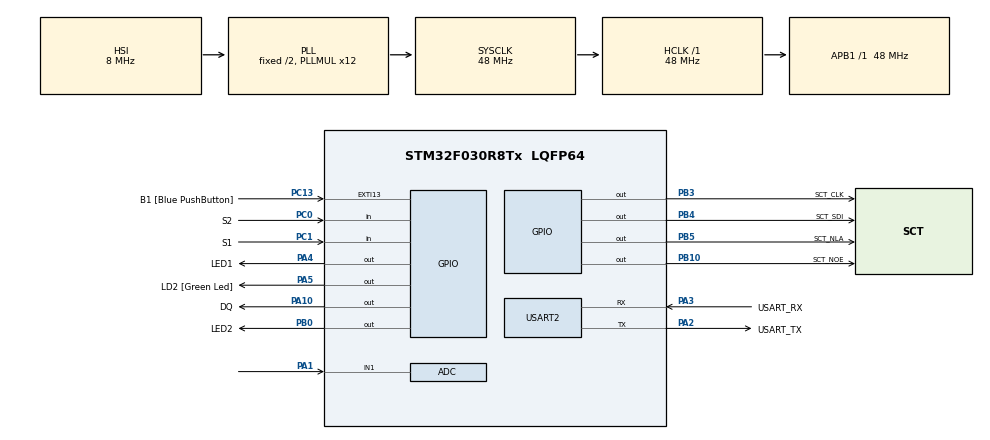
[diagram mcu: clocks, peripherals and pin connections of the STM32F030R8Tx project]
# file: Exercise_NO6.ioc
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ADC.ContinuousConvMode=ENABLE
ADC.Overrun=ADC_OVR_DATA_OVERWRITTEN
ADC.Resolution=ADC_RESOLUTION_10B
Mcu.Family=STM32F0
Mcu.Name=STM32F030R8Tx
Mcu.Package=LQFP64
PA1.Mode=IN1
PA1.Signal=ADC_IN1
PA10.GPIO_Label=DQ
PA10.GPIO_ModeDefaultOutputPP=GPIO_MODE_OUTPUT_OD
PA10.GPIO_PuPd=GPIO_NOPULL
PA10.Signal=GPIO_Output
PA13.GPIO_Label=TMS
PA13.Mode=Serial_Wire
PA13.Signal=SYS_SWDIO
PA14.GPIO_Label=TCK
PA14.Mode=Serial_Wire
PA14.Signal=SYS_SWCLK
PA2.GPIO_Label=USART_TX
PA2.GPIO_Mode=GPIO_MODE_AF_PP
PA2.GPIO_PuPd=GPIO_NOPULL
PA2.GPIO_Speed=GPIO_SPEED_FREQ_LOW
PA2.Mode=Asynchronous
PA2.Signal=USART2_TX
PA3.GPIO_Label=USART_RX
PA3.GPIO_Mode=GPIO_MODE_AF_PP
PA3.GPIO_PuPd=GPIO_NOPULL
PA3.GPIO_Speed=GPIO_SPEED_FREQ_LOW
PA3.Mode=Asynchronous
PA3.Signal=USART2_RX
PA4.GPIO_Label=LED1
PA4.Signal=GPIO_Output
PA5.GPIO_Label=LD2 [Green Led]
PA5.GPIO_Mode=GPIO_MODE_OUTPUT_PP
PA5.GPIO_PuPd=GPIO_NOPULL
PA5.GPIO_Speed=GPIO_SPEED_FREQ_LOW
PA5.Signal=GPIO_Output
PB0.GPIO_Label=LED2
PB0.Signal=GPIO_Output
PB10.GPIO_Label=SCT_NOE
PB10.Signal=GPIO_Output
PB3.GPIO_Label=SCT_CLK
PB3.Signal=GPIO_Output
PB4.GPIO_Label=SCT_SDI
PB4.Signal=GPIO_Output
PB5.GPIO_Label=SCT_NLA
PB5.Signal=GPIO_Output
PC0.GPIO_Label=S2
PC0.GPIO_PuPd=GPIO_PULLUP
PC0.Signal=GPIO_Input
PC1.GPIO_Label=S1
PC1.GPIO_PuPd=GPIO_PULLUP
PC1.Signal=GPIO_Input
PC13.GPIO_Label=B1 [Blue PushButton]
PC13.GPIO_ModeDefaultEXTI=GPIO_MODE_IT_FALLING
PC13.Signal=GPXTI13
PC14-OSC32_IN.Mode=LSE-External-Oscillator
PC14-OSC32_IN.Signal=RCC_OSC32_IN
PC15-OSC32_OUT.Mode=LSE-External-Oscillator
PC15-OSC32_OUT.Signal=RCC_OSC32_OUT
PF0-OSC_IN.Mode=HSE-External-Clock-Source
PF0-OSC_IN.Signal=RCC_OSC_IN
PF1-OSC_OUT.Signal=RCC_OSC_OUT
ProjectManager.HeapSize=0x200
ProjectManager.StackSize=0x400
ProjectManager.TargetToolchain=STM32CubeIDE
RCC.AHBFreq_Value=48000000
RCC.APB1Freq_Value=48000000
RCC.APB1TimFreq_Value=48000000
RCC.HCLKFreq_Value=48000000
RCC.PLLMUL=RCC_PLL_MUL12
RCC.SYSCLKFreq_VALUE=48000000
RCC.SYSCLKSource=RCC_SYSCLKSOURCE_PLLCLK
USART2.VirtualMode-Asynchronous=VM_ASYNC
board=NUCLEO-F030R8

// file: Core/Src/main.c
/* USER CODE BEGIN Header */
/**
 ******************************************************************************
 * @file           : main.c
 * @brief          : Main program body
 ******************************************************************************
 * @attention
 *
 * Copyright (c) 2022 STMicroelectronics.
 * All rights reserved.
 *
 * This software is licensed under terms that can be found in the LICENSE file
 * in the root directory of this software component.
 * If no LICENSE file comes with this software, it is provided AS-IS.
 *
 ******************************************************************************
 */
/* USER CODE END Header */
#include "main.h"

/* USER CODE BEGIN Includes */
#include "1wire.h"
#include "sct.h"
#include "data.h"
/* USER CODE END Includes */

/* USER CODE BEGIN PD */
#define DISPLAY_PERIOD 50 //ms
/* USER CODE END PD */

ADC_HandleTypeDef hadc;

UART_HandleTypeDef huart2;

void SystemClock_Config(void);
static void MX_GPIO_Init(void);
static void MX_USART2_UART_Init(void);
static void MX_ADC_Init(void);

int main(void)
{

	/* MCU Configuration--------------------------------------------------------*/

	/* Reset of all peripherals, Initializes the Flash interface and the Systick. */
	HAL_Init();

	/* Configure the system clock */
	SystemClock_Config();

	/* Initialize all configured peripherals */
	MX_GPIO_Init();
	MX_USART2_UART_Init();
	MX_ADC_Init();
	/* USER CODE BEGIN 2 */
	sct_init();
	OWInit();
	HAL_ADCEx_Calibration_Start(&hadc);
	HAL_ADC_Start(&hadc);
	/* USER CODE END 2 */

	/* Infinite loop */
	/* USER CODE BEGIN WHILE */
	while (1)
	{
		/*  int16_t temp_18b20;

	  OWConvertAll();
	  HAL_Delay(CONVERT_T_DELAY);
	  OWReadTemperature(&temp_18b20);
	  sct_value(temp_18b20/10, 0);

	  uint16_t adc = HAL_ADC_GetValue(&hadc);
	  sct_value(ntc_data[adc], 2);
	  HAL_Delay(100);
 */
		static uint32_t lastDisplayTicks = 0;
		static uint32_t lastBtnPress;
		static enum {SHOW_d18b20, SHOW_ntc} state = SHOW_d18b20;
		int16_t temp_18b20;
		uint16_t adc;

		OWConvertAll();
		HAL_Delay(CONVERT_T_DELAY);
		if (HAL_GetTick() >= lastDisplayTicks + DISPLAY_PERIOD) {
			lastDisplayTicks = HAL_GetTick();
			if (HAL_GPIO_ReadPin(S1_GPIO_Port, S1_Pin) == 0) {
				lastBtnPress = HAL_GetTick();
				state = SHOW_d18b20;
			}
			if (HAL_GPIO_ReadPin(S2_GPIO_Port, S2_Pin) == 0) {
				lastBtnPress = HAL_GetTick();
				state = SHOW_ntc;
			}
			switch (state) {
				case SHOW_d18b20: {
					HAL_GPIO_WritePin(LED1_GPIO_Port, LED1_Pin, 0);
					HAL_GPIO_WritePin(LED2_GPIO_Port, LED2_Pin, 1);

					OWReadTemperature(&temp_18b20);
					sct_value(temp_18b20/10, 0);
					break;
				}
				case SHOW_ntc: {
					HAL_GPIO_WritePin(LED1_GPIO_Port, LED1_Pin, 1);
					HAL_GPIO_WritePin(LED2_GPIO_Port, LED2_Pin, 0);

					adc = HAL_ADC_GetValue(&hadc);
					sct_value(ntc_data[adc], 2);
					HAL_Delay(100);
					break;
				}

		}

/*		if(HAL_GPIO_ReadPin(S1_GPIO_Port, S1_Pin) == 0) {
			HAL_GPIO_WritePin(LED1_GPIO_Port, LED1_Pin, 0);
			HAL_GPIO_WritePin(LED2_GPIO_Port, LED2_Pin, 1);

			OWReadTemperature(&temp_18b20);
			sct_value(temp_18b20/10, 0);
		}
		else if(HAL_GPIO_ReadPin(S2_GPIO_Port, S2_Pin) == 0) {
			HAL_GPIO_WritePin(LED1_GPIO_Port, LED1_Pin, 1);
			HAL_GPIO_WritePin(LED2_GPIO_Port, LED2_Pin, 0);
			adc = HAL_ADC_GetValue(&hadc);
			sct_value(ntc_data[adc], 2);
			HAL_Delay(100);
		}

*/
		}
		/* USER CODE END WHILE */

	}
}

void SystemClock_Config(void)
{
	RCC_OscInitTypeDef RCC_OscInitStruct = {0};
	RCC_ClkInitTypeDef RCC_ClkInitStruct = {0};

	/** Initializes the RCC Oscillators according to the specified parameters
	 * in the RCC_OscInitTypeDef structure.
	 */
	RCC_OscInitStruct.OscillatorType = RCC_OSCILLATORTYPE_HSI|RCC_OSCILLATORTYPE_HSI14;
	RCC_OscInitStruct.HSIState = RCC_HSI_ON;
	RCC_OscInitStruct.HSI14State = RCC_HSI14_ON;
	RCC_OscInitStruct.HSICalibrationValue = RCC_HSICALIBRATION_DEFAULT;
	RCC_OscInitStruct.HSI14CalibrationValue = 16;
	RCC_OscInitStruct.PLL.PLLState = RCC_PLL_ON;
	RCC_OscInitStruct.PLL.PLLSource = RCC_PLLSOURCE_HSI;
	RCC_OscInitStruct.PLL.PLLMUL = RCC_PLL_MUL12;
	RCC_OscInitStruct.PLL.PREDIV = RCC_PREDIV_DIV1;
	if (HAL_RCC_OscConfig(&RCC_OscInitStruct) != HAL_OK)
	{
		Error_Handler();
	}

	/** Initializes the CPU, AHB and APB buses clocks
	 */
	RCC_ClkInitStruct.ClockType = RCC_CLOCKTYPE_HCLK|RCC_CLOCKTYPE_SYSCLK
			|RCC_CLOCKTYPE_PCLK1;
	RCC_ClkInitStruct.SYSCLKSource = RCC_SYSCLKSOURCE_PLLCLK;
	RCC_ClkInitStruct.AHBCLKDivider = RCC_SYSCLK_DIV1;
	RCC_ClkInitStruct.APB1CLKDivider = RCC_HCLK_DIV1;

	if (HAL_RCC_ClockConfig(&RCC_ClkInitStruct, FLASH_LATENCY_1) != HAL_OK)
	{
		Error_Handler();
	}
}

static void MX_ADC_Init(void)
{

	ADC_ChannelConfTypeDef sConfig = {0};

	/** Configure the global features of the ADC (Clock, Resolution, Data Alignment and number of conversion)
	 */
	hadc.Instance = ADC1;
	hadc.Init.ClockPrescaler = ADC_CLOCK_ASYNC_DIV1;
	hadc.Init.Resolution = ADC_RESOLUTION_10B;
	hadc.Init.DataAlign = ADC_DATAALIGN_RIGHT;
	hadc.Init.ScanConvMode = ADC_SCAN_DIRECTION_FORWARD;
	hadc.Init.EOCSelection = ADC_EOC_SINGLE_CONV;
	hadc.Init.LowPowerAutoWait = DISABLE;
	hadc.Init.LowPowerAutoPowerOff = DISABLE;
	hadc.Init.ContinuousConvMode = ENABLE;
	hadc.Init.DiscontinuousConvMode = DISABLE;
	hadc.Init.ExternalTrigConv = ADC_SOFTWARE_START;
	hadc.Init.ExternalTrigConvEdge = ADC_EXTERNALTRIGCONVEDGE_NONE;
	hadc.Init.DMAContinuousRequests = DISABLE;
	hadc.Init.Overrun = ADC_OVR_DATA_OVERWRITTEN;
	if (HAL_ADC_Init(&hadc) != HAL_OK)
	{
		Error_Handler();
	}

	/** Configure for the selected ADC regular channel to be converted.
	 */
	sConfig.Channel = ADC_CHANNEL_1;
	sConfig.Rank = ADC_RANK_CHANNEL_NUMBER;
	sConfig.SamplingTime = ADC_SAMPLETIME_1CYCLE_5;
	if (HAL_ADC_ConfigChannel(&hadc, &sConfig) != HAL_OK)
	{
		Error_Handler();
	}

}

static void MX_USART2_UART_Init(void)
{

	huart2.Instance = USART2;
	huart2.Init.BaudRate = 38400;
	huart2.Init.WordLength = UART_WORDLENGTH_8B;
	huart2.Init.StopBits = UART_STOPBITS_1;
	huart2.Init.Parity = UART_PARITY_NONE;
	huart2.Init.Mode = UART_MODE_TX_RX;
	huart2.Init.HwFlowCtl = UART_HWCONTROL_NONE;
	huart2.Init.OverSampling = UART_OVERSAMPLING_16;
	huart2.Init.OneBitSampling = UART_ONE_BIT_SAMPLE_DISABLE;
	huart2.AdvancedInit.AdvFeatureInit = UART_ADVFEATURE_NO_INIT;
	if (HAL_UART_Init(&huart2) != HAL_OK)
	{
		Error_Handler();
	}

}

static void MX_GPIO_Init(void)
{
	GPIO_InitTypeDef GPIO_InitStruct = {0};

	/* GPIO Ports Clock Enable */
	__HAL_RCC_GPIOC_CLK_ENABLE();
	__HAL_RCC_GPIOF_CLK_ENABLE();
	__HAL_RCC_GPIOA_CLK_ENABLE();
	__HAL_RCC_GPIOB_CLK_ENABLE();

	/*Configure GPIO pin Output Level */
	HAL_GPIO_WritePin(GPIOA, GPIO_PIN_4|GPIO_PIN_5|GPIO_PIN_10, GPIO_PIN_RESET);

	/*Configure GPIO pin Output Level */
	HAL_GPIO_WritePin(GPIOB, GPIO_PIN_0|GPIO_PIN_10|GPIO_PIN_3|GPIO_PIN_4
			|GPIO_PIN_5, GPIO_PIN_RESET);

	/*Configure GPIO pin : PC13 */
	GPIO_InitStruct.Pin = GPIO_PIN_13;
	GPIO_InitStruct.Mode = GPIO_MODE_IT_FALLING;
	GPIO_InitStruct.Pull = GPIO_NOPULL;
	HAL_GPIO_Init(GPIOC, &GPIO_InitStruct);

	/*Configure GPIO pins : PC0 PC1 */
	GPIO_InitStruct.Pin = GPIO_PIN_0|GPIO_PIN_1;
	GPIO_InitStruct.Mode = GPIO_MODE_INPUT;
	GPIO_InitStruct.Pull = GPIO_PULLUP;
	HAL_GPIO_Init(GPIOC, &GPIO_InitStruct);

	/*Configure GPIO pins : PA4 PA5 */
	GPIO_InitStruct.Pin = GPIO_PIN_4|GPIO_PIN_5;
	GPIO_InitStruct.Mode = GPIO_MODE_OUTPUT_PP;
	GPIO_InitStruct.Pull = GPIO_NOPULL;
	GPIO_InitStruct.Speed = GPIO_SPEED_FREQ_LOW;
	HAL_GPIO_Init(GPIOA, &GPIO_InitStruct);

	/*Configure GPIO pins : PB0 PB10 PB3 PB4
                           PB5 */
	GPIO_InitStruct.Pin = GPIO_PIN_0|GPIO_PIN_10|GPIO_PIN_3|GPIO_PIN_4
			|GPIO_PIN_5;
	GPIO_InitStruct.Mode = GPIO_MODE_OUTPUT_PP;
	GPIO_InitStruct.Pull = GPIO_NOPULL;
	GPIO_InitStruct.Speed = GPIO_SPEED_FREQ_LOW;
	HAL_GPIO_Init(GPIOB, &GPIO_InitStruct);

	/*Configure GPIO pin : PA10 */
	GPIO_InitStruct.Pin = GPIO_PIN_10;
	GPIO_InitStruct.Mode = GPIO_MODE_OUTPUT_OD;
	GPIO_InitStruct.Pull = GPIO_NOPULL;
	GPIO_InitStruct.Speed = GPIO_SPEED_FREQ_LOW;
	HAL_GPIO_Init(GPIOA, &GPIO_InitStruct);

}

void Error_Handler(void)
{
	__disable_irq();
	while (1)
	{
	}
}
